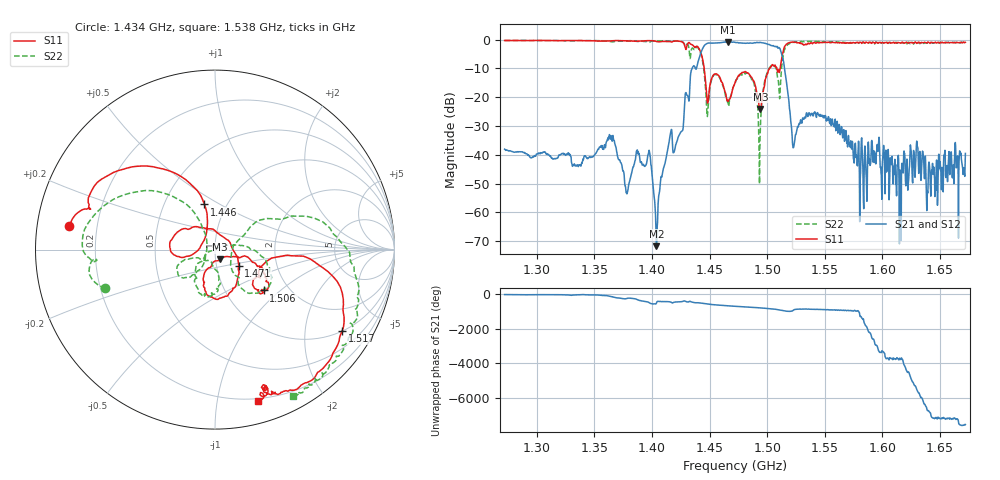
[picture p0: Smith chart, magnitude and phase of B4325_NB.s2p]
! Matrix data file written by TouchstoneData, EPCOS AG
! FILENAME: "B4325_NB.s2p"
! COMMENT: "(B4325_X10Y11_NB.s2p) Epcos AG 2/1/2013 3:53"
! INFO: nport=2, nfreq=1601
! DATE: "Wed Mar 27 10:36:29 2013"
! USER: "Rosemary Xue"
! port | pin | signal
!  1  |  1  |  IN
!  2  |  4  |  OUT
# MHZ S RI R 50
! freq  reS11 imS11  reS21 imS21  reS12 imS12  reS22 imS22
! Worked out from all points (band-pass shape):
!   1601 points, 1.272 GHz to 1.672 GHz, reference 50 ohm
!   highest |S21| = -0.83 dB at 1.466 GHz (marker M1); lowest = -71.7 dB at 1.404 GHz (marker M2)
!   |S21| within 3 dB of the highest: 1.443 GHz to 1.512 GHz (68.44 MHz wide, 4.63 % of centre)
!   lowest |S11| = -24.1 dB at 1.494 GHz (marker M3), VSWR 1.13, Z = 52.7 - j5.78 ohm
!   |S11| at or under -10 dB: 1.445 GHz to 1.502 GHz (56.77 MHz wide, 3.85 % of centre); 1.50834 GHz to 1.511219 GHz (2.879 MHz wide, 0.191 % of centre)
!   |S22| runs from -50.1 to -0.3 dB; largest |S21 - S12| = 0.0019
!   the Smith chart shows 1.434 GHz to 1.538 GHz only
!   S11 on the Smith chart (normalised r, x): 1.434 GHz: 0.10, +0.08; 1.446 GHz: 0.79, +0.42; 1.471 GHz: 1.28, -0.24; 1.506 GHz: 1.50, -0.78; 1.517 GHz: 0.99, -3.11; 1.538 GHz: 0.18, -1.31
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1272  -0.4329 -0.8581  0.012 -0.00351  0.012 -0.00352  -0.2302 -0.9337
1338.75  -0.5765 -0.7644  0.00674 -0.00197  0.00674 -0.00198  -0.3789 -0.8778
1364.75  -0.6287 -0.7095  -0.0158 -0.014  -0.0158 -0.014  -0.4531 -0.7924
1378.25  -0.6908 -0.6511  -0.00115 0.00176  -0.00114 0.00178  -0.4984 -0.8033
1397.25  -0.7797 -0.5509  -0.00468 -0.0109  -0.00467 -0.0109  -0.5776 -0.678
1403.75  -0.7995 -0.4607  -0.000237 -0.000104  -0.000222 -0.000127  -0.6458 -0.6925
1405.5  -0.7912 -0.4538  0.00103 -0.00126  0.00101 -0.00126  -0.6658 -0.6772
1434  -0.8137 0.1303  0.0622 -0.282  0.0623 -0.2816  -0.6103 -0.2142
1445.75  -0.0591 0.2516  -0.8 0.0274  -0.8007 0.0277  -0.1002 0.1824
1454  -0.2488 0.00101  -0.3495 0.793  -0.3502 0.7939  -0.1921 -0.1532
1465.5  0.0344 0.0781  0.5197 0.7461  0.5193 0.7459  -0.0573 -0.0593
1471  0.1318 -0.0901  0.7807 0.4489  0.7813 0.4485  0.0222 -0.1586
1472  0.1313 -0.1171  0.8071 0.382  0.8076 0.3819  0.0212 -0.1718
1486.25  -0.0569 -0.2144  0.737 -0.4587  0.7385 -0.4583  -0.1147 -0.1739
1494  0.0295 -0.0546  0.3422 -0.8224  0.3427 -0.8221  0.0261 0.0123
1506.5  0.2721 -0.2275  -0.5913 -0.4726  -0.5915 -0.4733  0.247 -0.2377
1517  0.7079 -0.4555  -0.0247 0.1584  -0.025 0.1588  0.7757 -0.1274
1523  0.4959 -0.7456  -0.0136 0.00149  -0.0137 0.0015  0.7148 -0.5332
1538.25  0.2411 -0.8427  -0.0406 -0.0305  -0.0406 -0.0307  0.4353 -0.8178
1538.75  0.2224 -0.8335  -0.0427 -0.0306  -0.0428 -0.0307  0.4264 -0.8261
1605.5  -0.1269 -0.8814  -0.00556 -4.85e-05  -0.00559 -3.32e-05  0.0425 -0.8729
1672  -0.2471 -0.8572  0.00954 0.00447  0.00953 0.00443  -0.0823 -0.8782
